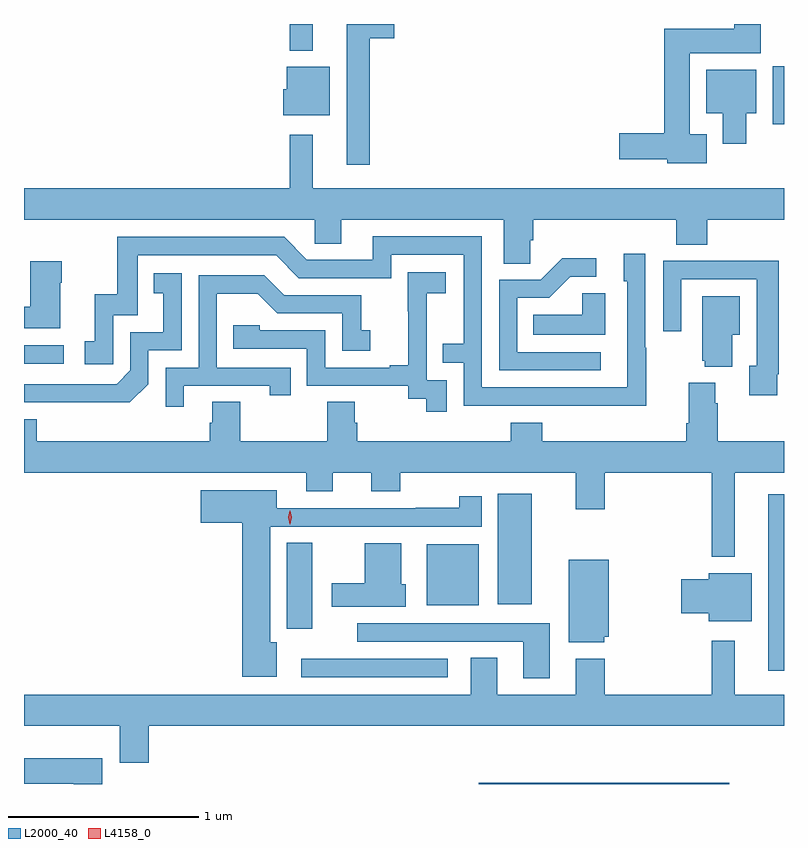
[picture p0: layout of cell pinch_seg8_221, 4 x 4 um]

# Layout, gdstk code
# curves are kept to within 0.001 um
import gdstk
lib = gdstk.Library(unit=1e-6, precision=1e-09)
def R(c, l, rs):  # rectangles x0, y0, x1, y1
    for r in rs: c.add(gdstk.rectangle(r[:2], r[2:], *l))
def P(c, l, *ps):  # polygons
    for p in ps: c.add(gdstk.Polygon(p, *l))
L2000_40 = (2000, 40)
L4158_0 = (4158, 0)

pinch_seg8_221 = lib.new_cell('pinch_seg8_221')
R(pinch_seg8_221, L2000_40, [(688.295,1098.877,689.614,1098.883), (687.36,1099.44,688.132,1099.536), (689.819,1099.473,689.901,1100.401), (687.284,1099.695,687.418,1100.147), (688.022,1099.817,688.294,1100.14), (688.394,1099.823,688.573,1100.404), (685.901,1101.09,686.11,1101.186), (689.843,1102.349,689.901,1102.654), (687.3,1102.736,687.421,1102.877)])
P(pinch_seg8_221, L2000_40, [(689.494,1102.297),(689.404,1102.297),(689.404,1102.724),(689.779,1102.724),(689.779,1102.877),(689.639,1102.877),(689.639,1102.852),(689.27,1102.852),(689.27,1102.301),(689.034,1102.301),(689.034,1102.166),(689.286,1102.166),(689.286,1102.145),(689.494,1102.145)],
  [(687.721,1102.802),(687.85,1102.802),(687.85,1102.877),(687.599,1102.877),(687.599,1102.137),(687.721,1102.137)],
  [(687.511,1102.651),(687.284,1102.651),(687.284,1102.533),(687.266,1102.533),(687.266,1102.397),(687.511,1102.397)],
  [(689.701,1102.406),(689.755,1102.406),(689.755,1102.636),(689.492,1102.636),(689.492,1102.406),(689.579,1102.406),(689.579,1102.248),(689.701,1102.248)],
  [(688.566,1101.739),(688.58,1101.739),(688.58,1101.848),(689.333,1101.848),(689.333,1101.715),(689.498,1101.715),(689.498,1101.848),(689.901,1101.848),(689.901,1102.012),(687.421,1102.012),(687.421,1102.294),(687.3,1102.294),(687.3,1102.012),(685.901,1102.012),(685.901,1101.848),(687.432,1101.848),(687.432,1101.721),(687.571,1101.721),(687.571,1101.848),(688.427,1101.848),(688.427,1101.616),(688.566,1101.616)],
  [(689.175,1101.173),(689.172,1101.173),(689.172,1101.667),(689.057,1101.667),(689.057,1101.522),(689.076,1101.522),(689.076,1100.964),(688.311,1100.964),(688.311,1101.759),(687.737,1101.759),(687.737,1101.636),(687.39,1101.636),(687.27,1101.756),(686.391,1101.756),(686.391,1101.454),(686.273,1101.454),(686.273,1101.207),(686.22,1101.207),(686.22,1101.087),(686.37,1101.087),(686.37,1101.345),(686.499,1101.345),(686.499,1101.66),(687.228,1101.66),(687.348,1101.54),(687.834,1101.54),(687.834,1101.663),(688.215,1101.663),(688.215,1101.194),(688.105,1101.194),(688.105,1101.093),(688.215,1101.093),(688.215,1100.868),(689.175,1100.867)],
  [(688.936,1101.15),(688.497,1101.15),(688.497,1101.435),(688.666,1101.435),(688.777,1101.546),(688.912,1101.546),(688.912,1101.644),(688.733,1101.644),(688.62,1101.531),(688.401,1101.531),(688.401,1101.054),(688.936,1101.054)],
  [(689.866,1101.034),(689.873,1101.034),(689.873,1101.632),(689.581,1101.632),(689.581,1101.63),(689.265,1101.63),(689.265,1101.261),(689.361,1101.261),(689.361,1101.534),(689.757,1101.534),(689.757,1101.078),(689.717,1101.078),(689.717,1100.922),(689.866,1100.922)],
  [(686.092,1101.515),(686.1,1101.515),(686.1,1101.628),(685.934,1101.628),(685.934,1101.389),(685.901,1101.389),(685.901,1101.275),(686.092,1101.275)],
  [(688.125,1101.003),(688.02,1101.003),(688.02,1101.233),(688.022,1101.233),(688.022,1101.461),(688.12,1101.461),(688.12,1101.571),(687.922,1101.571),(687.922,1101.365),(687.923,1101.365),(687.923,1101.082),(687.827,1101.082),(687.827,1101.069),(687.486,1101.069),(687.486,1101.264),(687.141,1101.264),(687.141,1101.291),(687.001,1101.291),(687.001,1101.168),(687.39,1101.168),(687.39,1100.973),(687.924,1100.973),(687.924,1100.905),(688.017,1100.905),(688.017,1100.835),(688.125,1100.835)],
  [(686.556,1100.982),(686.556,1101.159),(686.73,1101.159),(686.73,1101.565),(686.584,1101.565),(686.584,1101.459),(686.633,1101.459),(686.633,1101.255),(686.46,1101.255),(686.46,1101.054),(686.388,1100.982),(685.901,1100.982),(685.901,1100.886),(686.458,1100.885)],
  [(686.743,1100.973),(687.194,1100.973),(687.194,1100.922),(687.305,1100.922),(687.305,1101.069),(686.916,1101.069),(686.916,1101.458),(687.13,1101.458),(687.234,1101.354),(687.576,1101.354),(687.576,1101.156),(687.724,1101.156),(687.724,1101.265),(687.675,1101.265),(687.675,1101.45),(687.271,1101.45),(687.166,1101.555),(686.82,1101.555),(686.82,1101.069),(686.646,1101.069),(686.646,1100.862),(686.743,1100.862)],
  [(688.96,1101.461),(688.839,1101.461),(688.839,1101.346),(688.582,1101.346),(688.582,1101.242),(688.96,1101.242)],
  [(689.629,1101.242),(689.668,1101.242),(689.668,1101.445),(689.471,1101.445),(689.471,1101.105),(689.483,1101.105),(689.483,1101.074),(689.629,1101.074)],
  [(688.805,1100.322),(688.958,1100.322),(688.958,1100.516),(689.52,1100.516),(689.52,1100.072),(689.641,1100.072),(689.641,1100.516),(689.901,1100.516),(689.901,1100.68),(689.552,1100.68),(689.552,1100.882),(689.539,1100.882),(689.539,1100.989),(689.399,1100.989),(689.399,1100.776),(689.387,1100.776),(689.387,1100.68),(688.628,1100.68),(688.628,1100.779),(688.463,1100.779),(688.463,1100.68),(687.656,1100.68),(687.656,1100.778),(687.643,1100.778),(687.643,1100.888),(687.496,1100.888),(687.496,1100.68),(687.039,1100.68),(687.039,1100.888),(686.891,1100.888),(686.891,1100.778),(686.879,1100.778),(686.879,1100.68),(685.967,1100.68),(685.967,1100.797),(685.901,1100.797),(685.901,1100.516),(687.386,1100.516),(687.386,1100.417),(687.526,1100.417),(687.526,1100.516),(687.728,1100.516),(687.728,1100.417),(687.881,1100.417),(687.881,1100.516),(688.805,1100.516)],
  [(687.232,1099.624),(687.196,1099.624),(687.196,1100.232),(688.309,1100.232),(688.309,1100.392),(688.192,1100.392),(688.192,1100.33),(687.964,1100.33),(687.964,1100.328),(687.232,1100.328),(687.232,1100.422),(686.832,1100.422),(686.832,1100.252),(687.05,1100.252),(687.05,1099.442),(687.232,1099.442)],
  [(687.91,1099.929),(687.886,1099.929),(687.886,1100.143),(687.695,1100.143),(687.695,1099.933),(687.522,1099.933),(687.522,1099.811),(687.91,1099.811)],
  [(688.956,1099.653),(688.978,1099.653),(688.978,1100.056),(688.769,1100.056),(688.769,1099.622),(688.956,1099.622)],
  [(689.731,1099.987),(689.504,1099.987),(689.504,1099.955),(689.361,1099.955),(689.361,1099.777),(689.504,1099.777),(689.504,1099.733),(689.731,1099.733)],
  [(688.669,1099.722),(687.654,1099.722),(687.654,1099.626),(688.529,1099.626),(688.529,1099.434),(688.669,1099.434)],
  [(689.52,1099.63),(689.52,1099.348),(688.958,1099.348),(688.958,1099.537),(688.805,1099.537),(688.805,1099.348),(688.393,1099.348),(688.393,1099.541),(688.253,1099.541),(688.253,1099.348),(685.901,1099.348),(685.901,1099.184),(686.405,1099.184),(686.405,1098.99),(686.558,1098.99),(686.558,1099.184),(689.901,1099.184),(689.901,1099.348),(689.641,1099.348),(689.641,1099.63)],
  [(686.314,1099.012),(685.901,1099.012),(685.901,1098.878),(686.162,1098.878),(686.162,1098.877),(686.314,1098.877)])
P(pinch_seg8_221, L4158_0, [(687.3,1100.245),(687.291,1100.281),(687.3,1100.316),(687.301,1100.316),(687.301,1100.316),(687.311,1100.281),(687.301,1100.245),(687.301,1100.245)])

lib.write_gds('pinch_seg8_221.gds')
